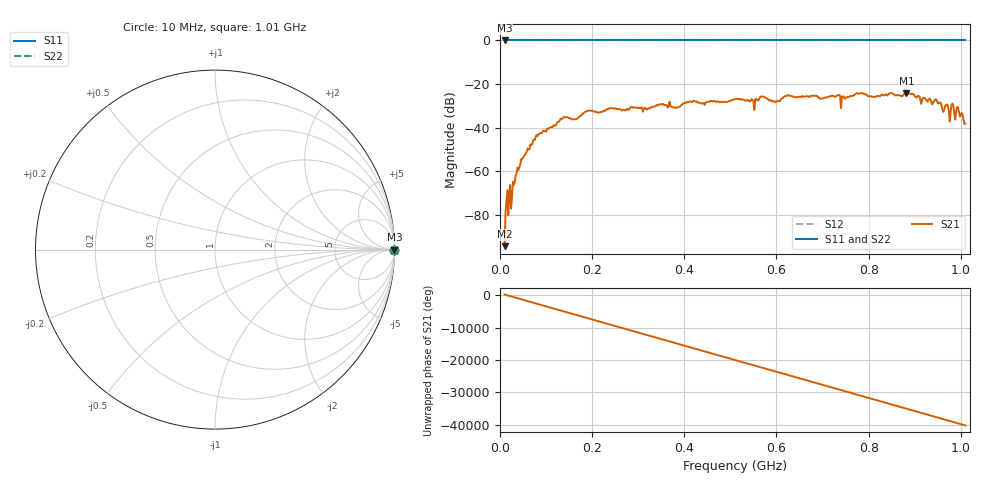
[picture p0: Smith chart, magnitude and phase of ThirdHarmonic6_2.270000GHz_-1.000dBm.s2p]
! 8/17/2025 2:52:06 AM
! C:\ANRITSUVNA\TEMP\TEMP.S2P
! CHANNEL.1
! TR.MEASUREMENT
! RAW.DATA
! RF.CORRECTION.OFF
! AVERAGING.OFF
! IF.BANDWIDTH: 5KHZ
! SWEEPTYPE:  FREQ.SWEEP(Linear)
! Reference Plane Port Info
! PORT:  PORT1  PORT2
! DISTANCE:  0  m  0  m
! TIME:  0  s  0  s
! PHASE.OFFSET:  0  deg.  0  deg.
! LOSS:  0  dB  0  dB
! REF.LOSS:  0  dB  0  dB
! REF.FREQ:  0  Hz  0  Hz
! Power Info
! POWER:  -20  dBm  -20  dBm
! EFF.POWER:  -20  dBm  -20  dBm
! SOURCE.ATTEN:  0  dB  0  dB
! TEST.ATTEN:  0  dB  0  dB
# GHZ S RI R 50.0
! FREQ.GHZ  S11RE  S11IM  S21RE  S21IM  S12RE  S12IM  S22RE  S22IM
!; PortSelection: Port_12
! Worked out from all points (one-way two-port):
!   501 points, 10 MHz to 1.01 GHz, reference 50 ohm
!   highest |S21| = -24.13 dB at 882 MHz (marker M1); lowest = -94.5 dB at 10 MHz (marker M2)
!   lowest |S11| = 0.0 dB at 10 MHz (marker M3)
!   |S11| at or under -10 dB: nowhere
!   |S22| runs from 0.0 to 0.0 dB; largest |S21 - S12| = 1.1
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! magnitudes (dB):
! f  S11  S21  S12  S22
! 10 MHz  0.0  -94.5  0.0  0.0
! 18 MHz  0.0  -80.3  0.0  0.0
! 22 MHz  0.0  -66.4  0.0  0.0
! 42 MHz  0.0  -58.3  0.0  0.0
! 76 MHz  0.0  -45.6  0.0  0.0
! 136 MHz  0.0  -35.8  0.0  0.0
! 178 MHz  0.0  -34.0  0.0  0.0
! 344 MHz  0.0  -29.6  0.0  0.0
! 382 MHz  0.0  -30.7  0.0  0.0
! 416 MHz  0.0  -28.3  0.0  0.0
! 510 MHz  0.0  -27.0  0.0  0.0
! 548 MHz  0.0  -27.3  0.0  0.0
! 570 MHz  0.0  -25.8  0.0  0.0
! 596 MHz  0.0  -27.9  0.0  0.0
! 622 MHz  0.0  -25.4  0.0  0.0
! 678 MHz  0.0  -25.5  0.0  0.0
! 744 MHz  0.0  -25.8  0.0  0.0
! 778 MHz  0.0  -24.4  0.0  0.0
! 844 MHz  0.0  -24.4  0.0  0.0
! 882 MHz  0.0  -24.1  0.0  0.0
! 994 MHz  0.0  -30.6  0.0  0.0
! 1.01 GHz  0.0  -38.2  0.0  0.0
